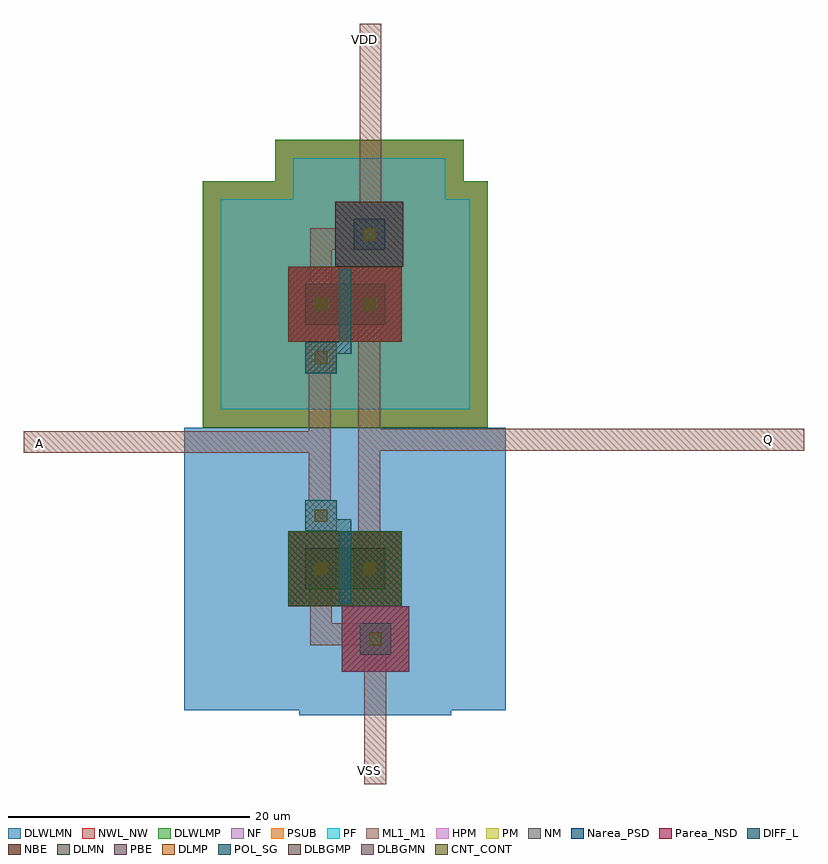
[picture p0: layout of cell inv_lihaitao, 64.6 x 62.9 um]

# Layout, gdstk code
import gdstk
lib = gdstk.Library(unit=1e-6, precision=1e-07)
def R(c, l, rs):  # rectangles x0, y0, x1, y1
    for r in rs: c.add(gdstk.rectangle(r[:2], r[2:], *l))
DIFF_L = (3, 0)
NM = (7, 0)
POL_SG = (8, 0)
Narea_PSD = (9, 0)
CNT_CONT = (11, 0)
ML1_M1 = (13, 0)
NF = (25, 0)
PF = (26, 0)
Parea_NSD = (28, 0)
HPM = (33, 0)
PM = (35, 0)
NWL_NW = (36, 0)
PSUB = (140, 0)
PBE = (146, 0)
NBE = (147, 0)
DLWLMP = (150, 0)
DLWLMN = (151, 0)
DLMP = (157, 0)
DLMN = (158, 0)
DLBGMP = (177, 0)
DLBGMN = (178, 0)

inv_lihaitao = lib.new_cell('inv_lihaitao')
R(inv_lihaitao, DIFF_L, [(4.5,-23.3,7.1,-20.7), (0,-17.9,6.6,-14.5), (0,-17.5,2.6,-14.9), (4,-17.5,6.6,-14.9), (0,4,6.6,7.4), (0,4.4,2.6,7), (4,4.4,6.6,7), (4,10.2,6.6,12.8)])
R(inv_lihaitao, NM, [(3,-24.7,8.6,-19.3), (-1.4,2.6,8,8.8), (2.5,8.8,8.1,14.2)])
R(inv_lihaitao, POL_SG, [(0,-13.1,2.6,-10.5), (0,0,2.6,2.6)])
R(inv_lihaitao, Narea_PSD, [(-1.4,-19.3,8,-13.1), (2.5,8.8,8.1,14.2)])
R(inv_lihaitao, CNT_CONT, [(5.3,-22.5,6.3,-21.5), (0.8,-16.7,1.8,-15.7), (4.8,-16.7,5.8,-15.7), (0.8,-12.3,1.8,-11.3), (0.8,0.8,1.8,1.8), (0.8,5.2,1.8,6.2), (4.8,5.2,5.8,6.2), (4.8,11,5.8,12)])
R(inv_lihaitao, ML1_M1, [(4.5,-23.3,7.1,-20.7), (5.3,-22.5,6.3,-21.5), (0,-17.5,2.6,-14.9), (4,-17.5,6.6,-14.9), (0.8,-16.7,1.8,-15.7), (4.8,-16.7,5.8,-15.7), (0,-13.1,2.6,-10.5), (0.8,-12.3,1.8,-11.3), (0,0,2.6,2.6), (0.8,0.8,1.8,1.8), (0,4.4,2.6,7), (4,4.4,6.6,7), (0.8,5.2,1.8,6.2), (4.8,5.2,5.8,6.2), (4,10.2,6.6,12.8), (4.8,11,5.8,12)])
R(inv_lihaitao, NF, [(-7,-3,13.6,14.4), (-1,5.2,11.6,17.8)])
R(inv_lihaitao, PF, [(-7,-3,13.6,14.4), (-1,5.2,11.6,17.8)])
R(inv_lihaitao, Parea_NSD, [(3,-24.7,8.6,-19.3), (-1.4,2.6,8,8.8)])
R(inv_lihaitao, HPM, [(3,-24.7,8.6,-19.3), (-1.4,-19.3,8,-13.1), (-1.4,2.6,8,8.8), (2.5,8.8,8.1,14.2)])
R(inv_lihaitao, PM, [(3,-24.7,8.6,-19.3), (-1.4,-19.3,8,-13.1), (2.5,8.8,8.1,14.2)])
R(inv_lihaitao, NWL_NW, [(-8.5,-4.5,15.1,15.9), (-2.5,3.7,13.1,19.3)])
R(inv_lihaitao, PSUB, [(-7,-3,13.6,14.4), (-1,5.2,11.6,17.8)])
R(inv_lihaitao, PBE, [(-1.4,2.6,8,8.8)])
R(inv_lihaitao, NBE, [(-1.4,-19.3,8,-13.1)])
R(inv_lihaitao, DLWLMP, [(-8.5,-4.5,15.1,15.9), (-2.5,3.7,13.1,19.3)])
R(inv_lihaitao, DLWLMN, [(-0.5,-28.3,12.1,-15.7), (-10,-27.9,16.6,-4.5)])
R(inv_lihaitao, DLMP, [(-1.4,2.6,8,8.8)])
R(inv_lihaitao, DLMN, [(-1.4,-19.3,8,-13.1)])
R(inv_lihaitao, DLBGMP, [(2.5,8.8,8.1,14.2)])
R(inv_lihaitao, DLBGMN, [(3,-24.7,8.6,-19.3)])
inv_lihaitao.add(gdstk.FlexPath([(1.3,4),(1.3,7.4)], 2.6, ends="flush", simple_path=True, layer=13, datatype=0))  # ML1_M1
inv_lihaitao.add(gdstk.FlexPath([(5.3,4),(5.3,7.4)], 2.6, ends="flush", simple_path=True, layer=13, datatype=0))  # ML1_M1
inv_lihaitao.add(gdstk.FlexPath([(1.3,6.4),(1.3,9.7)], 1.8, ends="flush", simple_path=True, layer=13, datatype=0))  # ML1_M1
inv_lihaitao.add(gdstk.FlexPath([(5.3,1.7),(5.3,5)], 1.8, ends="flush", simple_path=True, layer=13, datatype=0))  # ML1_M1
inv_lihaitao.add(gdstk.FlexPath([(1.3,-17.9),(1.3,-14.5)], 2.6, ends="flush", simple_path=True, layer=13, datatype=0))  # ML1_M1
inv_lihaitao.add(gdstk.FlexPath([(5.3,-17.9),(5.3,-14.5)], 2.6, ends="flush", simple_path=True, layer=13, datatype=0))  # ML1_M1
inv_lihaitao.add(gdstk.FlexPath([(1.3,-20.2),(1.3,-16.9)], 1.8, ends="flush", simple_path=True, layer=13, datatype=0))  # ML1_M1
inv_lihaitao.add(gdstk.FlexPath([(5.3,-15.5),(5.3,-12.2)], 1.8, ends="flush", simple_path=True, layer=13, datatype=0))  # ML1_M1
inv_lihaitao.add(gdstk.FlexPath([(1.2,1.3),(1.2,-12.2)], 1.8, ends="flush", simple_path=True, layer=13, datatype=0))  # ML1_M1
inv_lihaitao.add(gdstk.FlexPath([(5.3,2.1),(5.3,-12.8)], 1.8, ends="flush", simple_path=True, layer=13, datatype=0))  # ML1_M1
inv_lihaitao.add(gdstk.FlexPath([(1.3,9.4),(1.3,11.1),(6.2,11.1)], 1.8, ends="flush", simple_path=True, layer=13, datatype=0))  # ML1_M1
inv_lihaitao.add(gdstk.FlexPath([(5.4,11.1),(5.4,28.9)], 1.8, ends="flush", simple_path=True, layer=13, datatype=0))  # ML1_M1
inv_lihaitao.add(gdstk.FlexPath([(5.3,-5.5),(41.3,-5.5)], 1.8, ends="flush", simple_path=True, layer=13, datatype=0))  # ML1_M1
inv_lihaitao.add(gdstk.FlexPath([(1.2,-5.7),(-23.3,-5.7)], 1.8, ends="flush", simple_path=True, layer=13, datatype=0))  # ML1_M1
inv_lihaitao.add(gdstk.FlexPath([(1.3,-19.9),(1.3,-21.6),(5.8,-21.6)], 1.8, ends="flush", simple_path=True, layer=13, datatype=0))  # ML1_M1
inv_lihaitao.add(gdstk.FlexPath([(5.8,-21.7),(5.8,-34)], 1.8, ends="flush", simple_path=True, layer=13, datatype=0))  # ML1_M1
inv_lihaitao.add(gdstk.FlexPath([(3.3,4),(3.3,7.4)], 1, ends=(1.2, 1.2), simple_path=True, layer=8, datatype=0))  # POL_SG
inv_lihaitao.add(gdstk.FlexPath([(1.3,2.1),(3.3,2.1),(3.3,2.8)], 1, ends="flush", simple_path=True, layer=8, datatype=0))  # POL_SG
inv_lihaitao.add(gdstk.FlexPath([(3.3,-17.9),(3.3,-14.5)], 1, ends=(1.2, 1.2), simple_path=True, layer=8, datatype=0))  # POL_SG
inv_lihaitao.add(gdstk.FlexPath([(1.3,-12.6),(3.3,-12.6),(3.3,-13.3)], 1, ends="flush", simple_path=True, layer=8, datatype=0))  # POL_SG
inv_lihaitao.add(gdstk.Label('Q', (38.3,-5.5), layer=13, texttype=0))
inv_lihaitao.add(gdstk.Label('A', (-22,-5.8), layer=13, texttype=0))
inv_lihaitao.add(gdstk.Label('VDD', (4.9,27.6), layer=13, texttype=0))
inv_lihaitao.add(gdstk.Label('VSS', (5.3,-32.9), layer=13, texttype=0))

lib.write_gds('inv_lihaitao.gds')
